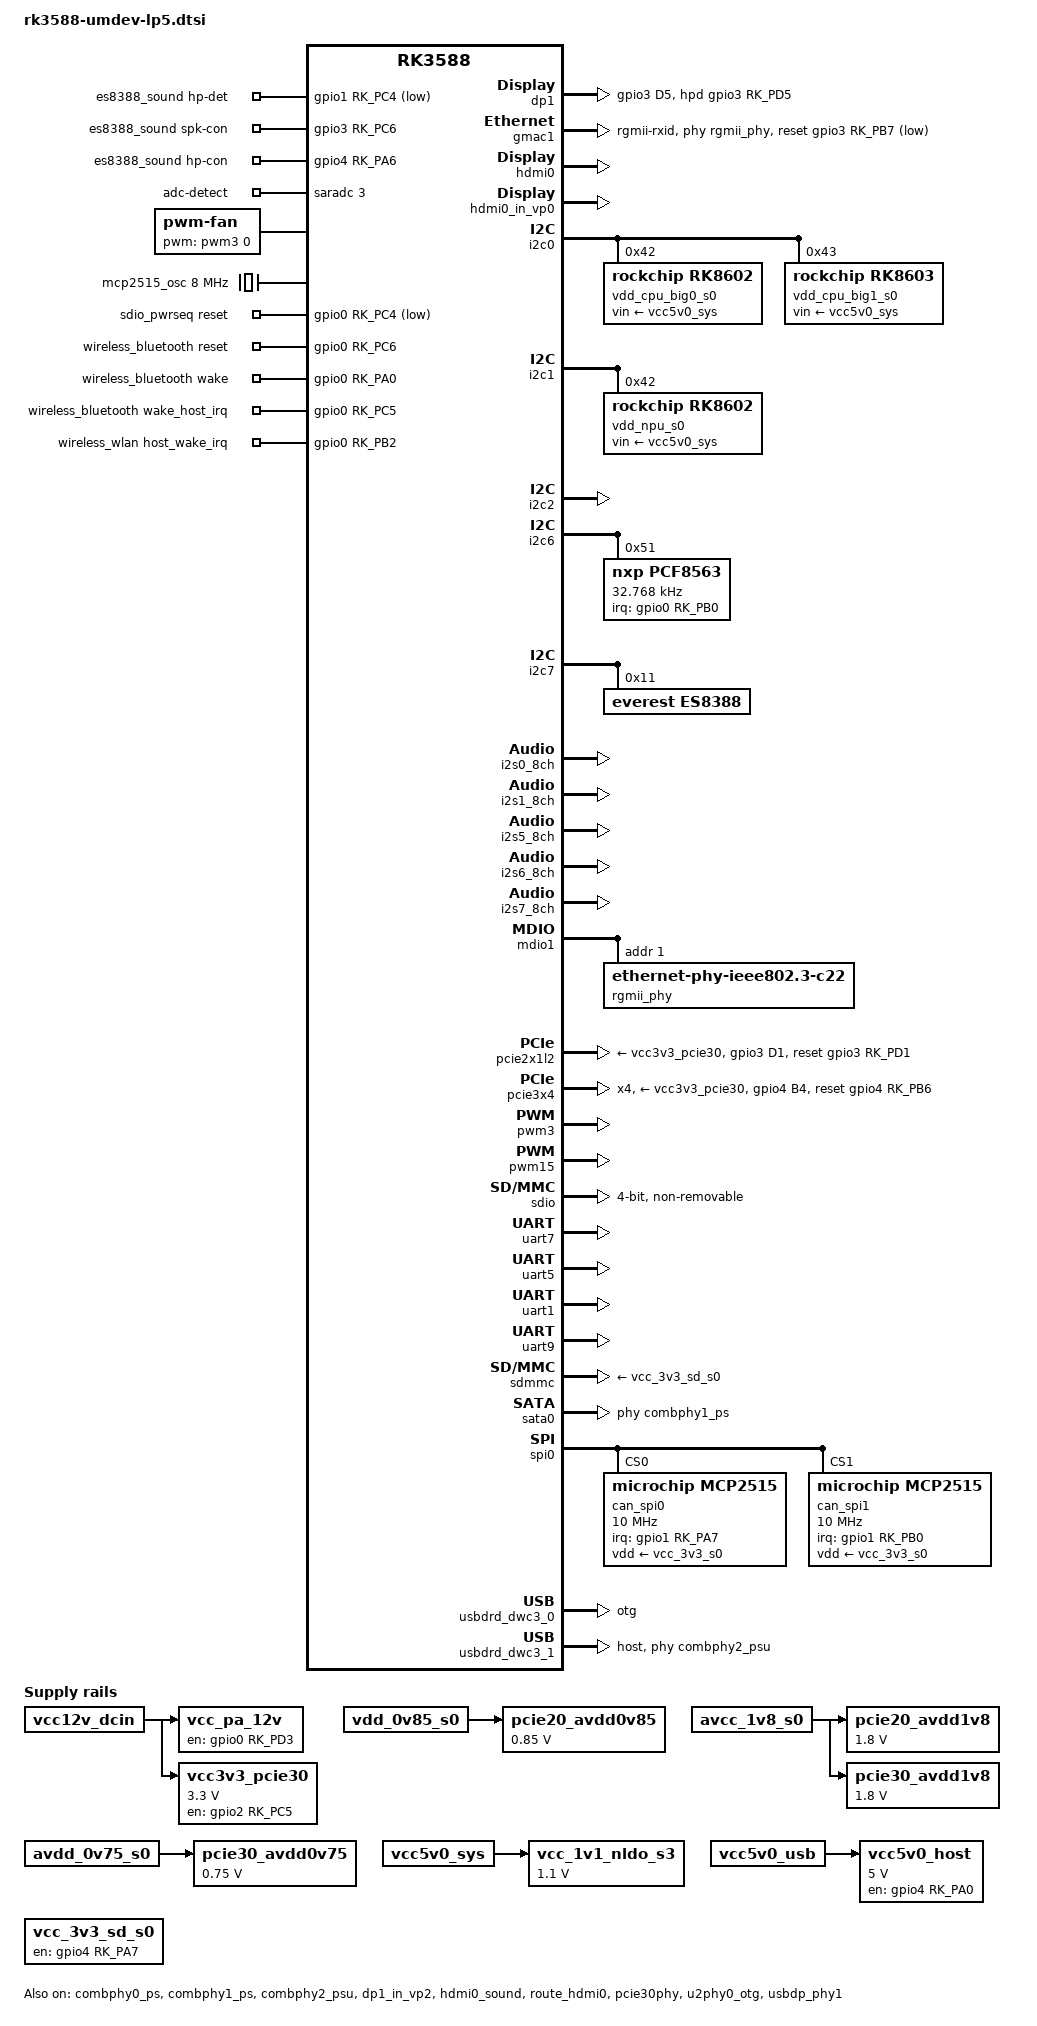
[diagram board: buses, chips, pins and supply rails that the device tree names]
// SPDX-License-Identifier: (GPL-2.0+ OR MIT)
/*
 * Copyright (c) 2021 Rockchip Electronics Co., Ltd.
 * rk3588-umdev-lp5.dtsi 2026.08.05
 */

#include "dt-bindings/usb/pd.h"
#include "dt-bindings/phy/phy.h"
#include "rk3588.dtsi"
#include "rk3588-evb.dtsi"
#include "rk3588-rk806-single.dtsi"

/ {
	es8388_sound: es8388-sound {
		status = "okay";
		compatible = "rockchip,multicodecs-card";
		rockchip,card-name = "rockchip-es8388";
		hp-det-gpio = <&gpio1 RK_PC4 GPIO_ACTIVE_LOW>;
		io-channels = <&saradc 3>;
		io-channel-names = "adc-detect";
		keyup-threshold-microvolt = <1800000>;
		poll-interval = <100>;
		spk-con-gpio = <&gpio3 RK_PC6 GPIO_ACTIVE_HIGH>;
		hp-con-gpio = <&gpio4 RK_PA6 GPIO_ACTIVE_HIGH>;
		rockchip,format = "i2s";
		rockchip,mclk-fs = <256>;
		rockchip,cpu = <&i2s0_8ch>;
		rockchip,codec = <&es8388>;
		rockchip,audio-routing =
			"Headphone", "LOUT1",
			"Headphone", "ROUT1",
			"Speaker", "LOUT2",
			"Speaker", "ROUT2",
			"Headphone", "Headphone Power",
			"Headphone", "Headphone Power",
			"Speaker", "Speaker Power",
			"Speaker", "Speaker Power",
			"LINPUT1", "Headset Mic",
			"RINPUT1", "Headset Mic";
		//	"LINPUT2", "Headset Mic",
		//	"RINPUT2", "Headset Mic";
		pinctrl-names = "default";
		pinctrl-0 = <&hp_det>;
		play-pause-key {
			label = "playpause";
			linux,code = <KEY_PLAYPAUSE>;
			press-threshold-microvolt = <2000>;
		};
	};

	vcc_pa_12v: vcc-pa-12v {
		compatible = "regulator-fixed";
		regulator-name = "vcc_pa_12v";
		regulator-boot-on;
		regulator-always-on;
		enable-active-high;
		gpio = <&gpio0 RK_PD3 GPIO_ACTIVE_HIGH>;
		pinctrl-names = "default";
		pinctrl-0 = <&amp_power_on_h>;
		vin-supply = <&vcc12v_dcin>;
	};

	fan: pwm-fan {
		compatible = "pwm-fan";
		#cooling-cells = <2>;
		pwms = <&pwm3 0 50000 0>;
		cooling-levels = <0 50 100 150 200 255>;
		rockchip,temp-trips = <
			50000	1
			55000	2
			60000	3
			65000	4
			70000	5
		>;
	};

	mcp2515_osc: mcp2515-osc {
		compatible = "fixed-clock";
		#clock-cells = <0>;
		clock-frequency = <8000000>;
	};

	pcie20_avdd0v85: pcie20-avdd0v85 {
		compatible = "regulator-fixed";
		regulator-name = "pcie20_avdd0v85";
		regulator-boot-on;
		regulator-always-on;
		regulator-min-microvolt = <850000>;
		regulator-max-microvolt = <850000>;
		vin-supply = <&vdd_0v85_s0>;
	};

	pcie20_avdd1v8: pcie20-avdd1v8 {
		compatible = "regulator-fixed";
		regulator-name = "pcie20_avdd1v8";
		regulator-boot-on;
		regulator-always-on;
		regulator-min-microvolt = <1800000>;
		regulator-max-microvolt = <1800000>;
		vin-supply = <&avcc_1v8_s0>;
	};

	pcie30_avdd0v75: pcie30-avdd0v75 {
		compatible = "regulator-fixed";
		regulator-name = "pcie30_avdd0v75";
		regulator-boot-on;
		regulator-always-on;
		regulator-min-microvolt = <750000>;
		regulator-max-microvolt = <750000>;
		vin-supply = <&avdd_0v75_s0>;
	};

	pcie30_avdd1v8: pcie30-avdd1v8 {
		compatible = "regulator-fixed";
		regulator-name = "pcie30_avdd1v8";
		regulator-boot-on;
		regulator-always-on;
		regulator-min-microvolt = <1800000>;
		regulator-max-microvolt = <1800000>;
		vin-supply = <&avcc_1v8_s0>;
	};

	/* SDIO接口Wi-Fi专用配置：WIFI_REG_ON: Wi-Fi的电源使能PIN脚 */
	sdio_pwrseq: sdio-pwrseq {
		compatible = "mmc-pwrseq-simple";
		pinctrl-names = "default";
		pinctrl-0 = <&wifi_enable_h>;
		/* 特别注意：WIFI_REG_ON GPIO_ACTIVE 配置跟使能状态恰好是相反的，
		 * 高有效为LOW，低有效则为HIGH
	 	 * 切记：这个配置跟下面的WIFI,poweren_gpio是互斥的，不能同时配置！！！
		 */
		post-power-on-delay-ms = <200>;
		reset-gpios = <&gpio0 RK_PC4 GPIO_ACTIVE_LOW>;	/* WIFI_REG_ON_H */
	};

	vcc_1v1_nldo_s3: vcc-1v1-nldo-s3 {
		compatible = "regulator-fixed";
		regulator-name = "vcc_1v1_nldo_s3";
		regulator-always-on;
		regulator-boot-on;
		regulator-min-microvolt = <1100000>;
		regulator-max-microvolt = <1100000>;
		vin-supply = <&vcc5v0_sys>;
	};

	vcc_3v3_sd_s0: vcc-3v3-sd-s0-regulator {
		compatible = "regulator-fixed";
		gpio = <&gpio4 RK_PA7 GPIO_ACTIVE_HIGH>;
		pinctrl-names = "default";
		pinctrl-0 = <&sd_s0_pwr>;
		regulator-name = "vcc_3v3_sd_s0";
		enable-active-high;
	};

	/* PCIE 3.3V供电 */
	vcc3v3_pcie30: vcc3v3-pcie30 {
		compatible = "regulator-fixed";
		regulator-name = "vcc3v3_pcie30";
		regulator-min-microvolt = <3300000>;
		regulator-max-microvolt = <3300000>;
		enable-active-high;
		pinctrl-names = "default";
		pinctrl-0 = <&pcie30_3v3_pwren_pins>;
		gpios = <&gpio2 RK_PC5 GPIO_ACTIVE_HIGH>;
		startup-delay-us = <5000>;
		vin-supply = <&vcc12v_dcin>;
		regulator-boot-on;
		regulator-always-on;
	};

	vcc5v0_host: vcc5v0-host {
		compatible = "regulator-fixed";
		regulator-name = "vcc5v0_host";
		regulator-boot-on;
		regulator-always-on;
		regulator-min-microvolt = <5000000>;
		regulator-max-microvolt = <5000000>;
		enable-active-high;
		gpio = <&gpio4 RK_PA0 GPIO_ACTIVE_HIGH>;
		vin-supply = <&vcc5v0_usb>;
		pinctrl-names = "default";
		pinctrl-0 = <&vcc5v0_host_en>;
	};

	/* 蓝牙节点 */
	/* 注意下面关于UART的配置：uart4_xfer/uart4_rts/uart4_ctsn
	 * 每个平台的名字可能不一样，要在对应芯片平台的dts/dtsi里面找下对
	 * 应的uart写法，比如uart4_ctsn有些平台的名字为uart4_cts.
	 */
	wireless_bluetooth: wireless-bluetooth {
		compatible = "bluetooth-platdata";

        /* ✅ 必须：32.768kHz 时钟（和 WIFI 共用） */
        clocks = <&pcf8563>;
        clock-names = "ext_clock";
		
		pinctrl-names = "default", "rts_gpio";
		pinctrl-0 = <&uart9m0_rtsn>, <&bt_reset_gpio>, <&bt_wake_gpio>, <&bt_irq_gpio>;
		pinctrl-1 = <&uart9_gpios>;
		BT,reset_gpio    = <&gpio0 RK_PC6 GPIO_ACTIVE_HIGH>;	/* BT_REG_ON_H */
		BT,wake_gpio     = <&gpio0 RK_PA0 GPIO_ACTIVE_HIGH>;	/* BT_WAKE_HOST_H */
		BT,wake_host_irq = <&gpio0 RK_PC5 GPIO_ACTIVE_HIGH>;	/* HOST_WAKE_BT_H */
		status = "okay";
	};

	/* Wi-Fi节点 */
	wireless_wlan: wireless-wlan{
		compatible = "wlan-platdata";
		rockchip,grf = <&sys_grf>;
		/* 注意：如果排查发现Wi-Fi模块没有32.768K波形，且硬件上是有
		 * RK PMU供给的，则打开下面的clock属性，按照实际使用的PMU型号填写，
		 * 否在SDIO/Wi-Fi无法使用.
		 * clocks = <&rk809 1>; //如果使用RK809，  只能配置一个
		 * clocks = <&hym8563>; //如果使用hym8563，只能配置一个
		 * clock-names = "ext_clock";
		*/

		/* 按实际名字填写 */	
		wifi_chip_type = "rtl8822cs";

		/* WIFI_WAKE_HOST: Wi-Fi中断通知主控的PIN脚。
		* 特别注意：确认下这个Wi-Fi pin脚跟主控的pin的
		* 硬件连接关系，直连的话就是GPIO_ACTIVE_HIGH;
		* 如果中间加了一个反向管就要改成低电平GPIO_ACTIVE_LOW触发
		*/
		// pinctrl-names = "default";
		// pinctrl-0 = <&wifi_host_wake_irq>;
		WIFI,host_wake_irq = <&gpio0 RK_PB2 GPIO_ACTIVE_HIGH>;		//GPIO3_A7_u WIFI_WAKE_HOST_H
		
		/* 注意USB/PCIE接口的Wi-Fi需要添加此配置，对应Wi-Fi使能脚,
		 * 且不需要配置sdio_pwrseq/sdio等节点！
		 * SDIO接口WiFi不需要添加这个配置！除非有动态加卸载KO的需求参考11.8章节；
		 * WIFI,poweren_gpio = <&gpio0 RK_PC4 GPIO_ACTIVE_HIGH>;
		*/
		status = "okay";
	};

	/* SPI CAN 时钟源定义 */
	mcp2515_CLK: mcp2515-CLK {
	    compatible = "fixed-clock";
	    #clock-cells = <0>;
	    clock-frequency = <8000000>;
	};
};

/* ==============================================
 * PHY配置（核心修复：释放combphy0_ps给PCIE网卡）
 * ============================================== */
&combphy0_ps {
	status = "okay";  /* 开启，供pcie2x1l2使用 */
};

&combphy1_ps {
	status = "okay";  /* SATA0 */
};

&combphy2_psu {
	status = "okay";  /* USB3.0 */
};

&dp1 {
    pinctrl-names = "default";
    pinctrl-0 = <&dp1_hpd_pin>;
    hpd-gpios = <&gpio3 RK_PD5 GPIO_ACTIVE_HIGH>;
    status = "okay";
};

&dp1_in_vp2 {
    status = "okay";
};

&usbdp_phy0 {
    status = "disabled";
    rockchip,dp-lane-mux = <0 1 2 3>;  /* 4 Lane */
};

/* gmac1: gmac1网口 */
&gmac1 {
	/* Use rgmii-rxid mode to disable rx delay inside Soc */
	phy-mode = "rgmii-rxid";
	clock_in_out = "output";
	snps,reset-gpio = <&gpio3 RK_PB7 GPIO_ACTIVE_LOW>;
	snps,reset-active-low;
	/* Reset time is 20ms, 100ms for rtl8211f */
	snps,reset-delays-us = <0 20000 100000>;
	pinctrl-names = "default";
	pinctrl-0 = <&gmac1_miim
			&gmac1_tx_bus2
			&gmac1_rx_bus2
			&gmac1_rgmii_clk
			&gmac1_rgmii_bus>;
	tx_delay = <0x43>;
	/* rx_delay = <0x3f>; */

	phy-handle = <&rgmii_phy>;
	status = "okay";
};

// 打开 hdmi0 功能
&hdmi0 {
    status = "okay";
    enable-gpios = <&gpio4 RK_PA1 GPIO_ACTIVE_HIGH>;
    pinctrl-names = "default";
    pinctrl-0 = <&hdmim0_tx0_cec &hdmim0_tx0_hpd &hdmim0_tx0_scl &hdmim0_tx0_sda>;
};

// 把 hdmi0 的显示接口连接在 Port0
&hdmi0_in_vp0 {
	status = "okay";
};

// 打开 hdmi0 音频输出
&hdmi0_sound {
	status = "okay";
};

// 打开 hdmi0 的开机 logo
&route_hdmi0 {
	status = "okay";
};

/* I2C0_M2:CPU */
&i2c0 {
	status = "okay";
	pinctrl-names = "default";
	pinctrl-0 = <&i2c0m2_xfer>;

	vdd_cpu_big0_s0: vdd_cpu_big0_mem_s0: rk8602@42 {
		compatible = "rockchip,rk8602";
		reg = <0x42>;
		vin-supply = <&vcc5v0_sys>;
		regulator-compatible = "rk860x-reg";
		regulator-name = "vdd_cpu_big0_s0";
		regulator-min-microvolt = <550000>;
		regulator-max-microvolt = <1050000>;
		regulator-ramp-delay = <2300>;
		rockchip,suspend-voltage-selector = <1>;
		regulator-boot-on;
		regulator-always-on;
		regulator-state-mem {
			regulator-off-in-suspend;
		};
	};

	vdd_cpu_big1_s0: vdd_cpu_big1_mem_s0: rk8603@43 {
		compatible = "rockchip,rk8603";
		reg = <0x43>;
		vin-supply = <&vcc5v0_sys>;
		regulator-compatible = "rk860x-reg";
		regulator-name = "vdd_cpu_big1_s0";
		regulator-min-microvolt = <550000>;
		regulator-max-microvolt = <1050000>;
		regulator-ramp-delay = <2300>;
		rockchip,suspend-voltage-selector = <1>;
		regulator-boot-on;
		regulator-always-on;
		regulator-state-mem {
			regulator-off-in-suspend;
		};
	};
};

&i2c1 {
	status = "okay";
	pinctrl-names = "default";
	pinctrl-0 = <&i2c1m2_xfer>;
	/* NPU_RK860 */
	vdd_npu_s0: vdd_npu_mem_s0: rk8602@42 {
		compatible = "rockchip,rk8602";
		reg = <0x42>;
		vin-supply = <&vcc5v0_sys>;
		regulator-compatible = "rk860x-reg";
		regulator-name = "vdd_npu_s0";
		regulator-min-microvolt = <550000>;
		regulator-max-microvolt = <950000>;
		regulator-ramp-delay = <2300>;
		rockchip,suspend-voltage-selector = <1>;
		regulator-boot-on;
		regulator-always-on;
		regulator-state-mem {
			regulator-off-in-suspend;
		};
	};
};

&i2c2 {
	status = "okay";
	pinctrl-names = "default";
	pinctrl-0 = <&i2c2m0_xfer>;
};

/* I2C6_M0: RTC */
&i2c6 {
	status = "okay";
	pinctrl-names = "default";
	pinctrl-0 = <&i2c6m0_xfer>;
	
	/* RTC_PCF8563 */
	pcf8563: pcf8563@51 {
		compatible = "nxp,pcf8563";
		reg = <0x51>;
		#clock-cells = <0>;
		clock-frequency = <32768>;
		clock-output-names = "pcf8563";
		pinctrl-names = "default";
		pinctrl-0 = <&pcf8563_int>;
		interrupt-parent = <&gpio0>;
		interrupts = <RK_PB0 IRQ_TYPE_LEVEL_LOW>;
		wakeup-source;
	};
};

/* I2C7_M0: ES8388 */
&i2c7 {
	status = "okay";
	es8388: es8388@11 {
		status = "okay";
		#sound-dai-cells = <0>;
		compatible = "everest,es8388", "everest,es8323";
		reg = <0x11>;
		clocks = <&mclkout_i2s0>;
		clock-names = "mclk";
		assigned-clocks = <&mclkout_i2s0>;
		assigned-clock-rates = <12288000>;
		pinctrl-names = "default";
		pinctrl-0 = <&i2s0_mclk>;
	};
};

&i2s0_8ch {
	status = "okay";
};

&i2s1_8ch {
	status = "okay";
	#sound-dai-cells = <0>;
	rockchip,clk-trcm = <2>;
	pinctrl-names = "default";
	pinctrl-0 = <&i2s1m0_lrck
			&i2s1m0_sclk
			&i2s1m0_sdi1
			&i2s1m0_sdi2
			&i2s1m0_sdi3>;
};

&i2s5_8ch {
	status = "okay";
};

&i2s6_8ch {
	status = "okay";
};

&i2s7_8ch {
	status = "okay";
};

&mdio1 {
	rgmii_phy: phy@1 {
		compatible = "ethernet-phy-ieee802.3-c22";
		reg = <0x1>;
	};
};

/* ==============================================
 * PCIE配置（核心修复区）
 * ============================================== */
/* RTL8111网卡对应的PCIE控制器 */
&pcie2x1l2 {
	status = "okay";
	/* 3.3V供电 */
	vpcie3v3-supply = <&vcc3v3_pcie30>;

	/* 复位配置（匹配硬件时序） */
	reset-gpios = <&gpio3 RK_PD1 GPIO_ACTIVE_HIGH>;
	rockchip,perst-inactive-ms = <1000>;
	/* 引脚控制 */
	pinctrl-names = "default";
	pinctrl-0 = <&rtl8111_isolate>;

	/* 强制Gen1模式，解决信号稳定性问题 */
	max-link-speed = <1>;
};

/* PCIE3.0 PHY（供NVMe使用） */
&pcie30phy {
 	rockchip,pcie30-phymode = <PHY_MODE_PCIE_NANBNB>;
	status = "okay";
};

/* NVMe控制器 */
&pcie3x4 {
	status = "okay";
	num-lanes = <4>;	
	pinctrl-names = "default";
	pinctrl-0 = <&pcie30x4_clkreqn_m1>;
	reset-gpios = <&gpio4 RK_PB6 GPIO_ACTIVE_HIGH>; 
	rockchip,perst-inactive-ms = <1000>; 
	vpcie3v3-supply = <&vcc3v3_pcie30>;
};

&pinctrl {
	audio {
		hp_det: hp-det {
			rockchip,pins = <1 RK_PC4 RK_FUNC_GPIO &pcfg_pull_none>;
		};
		phone_ctl: phone-ctl {
			rockchip,pins = <4 RK_PA6 RK_FUNC_GPIO &pcfg_pull_none>;
		};
		spk_ctl: spk-ctl {
			rockchip,pins = <3 RK_PC6 RK_FUNC_GPIO &pcfg_pull_none>;
		};
		amp_power_on_h: amp-power-on-h {
			rockchip,pins = <0 RK_PD3 RK_FUNC_GPIO &pcfg_pull_none>;
		};
	};

	pcf8563 {
		pcf8563_int: pcf8563-int {
			rockchip,pins = <0 RK_PB0 RK_FUNC_GPIO &pcfg_pull_up>;
		};
	};
	
	rtl8111 {
		rtl8111_isolate: rtl8111-isolate {
			rockchip,pins = <3 RK_PD1 RK_FUNC_GPIO &pcfg_pull_up>;
		};
	};
	
	minipcie {
		minipcie_isolate: minipcie-isolate {
			rockchip,pins = <4 RK_PA5 RK_FUNC_GPIO &pcfg_pull_up>;
		};
	};	

	/* SDIO接口Wi-Fi专用配置：WIFI_REG_ON脚的pinctrl的配置 */
	sdio-pwrseq {
		wifi_enable_h: wifi-enable-h {
			/* 对应上面的WIFI_REG_ON，关掉上下拉，防止不能拉高或拉低 */
			rockchip,pins = <0 RK_PC4 RK_FUNC_GPIO &pcfg_pull_up>;
		};
	};

	/* WIFI_WAKE_HOST脚的pinctrl的配置 */
	wireless-bluetooth {
		uart9_gpios: uart9-gpios {
			rockchip,pins = <4 RK_PC4 RK_FUNC_GPIO &pcfg_pull_none>;
		};

		bt_reset_gpio: bt-reset-gpio {
			rockchip,pins = <0 RK_PC6 RK_FUNC_GPIO &pcfg_pull_none>;
		};

		bt_wake_gpio: bt-wake-gpio {
			rockchip,pins = <0 RK_PA0 RK_FUNC_GPIO &pcfg_pull_none>;
		};

		bt_irq_gpio: bt-irq-gpio {
			rockchip,pins = <0 RK_PC5 RK_FUNC_GPIO &pcfg_pull_none>;
		};
	};

	/* WIFI_WAKE_HOST脚的pinctrl的配置 */
	wireless-wlan {
		wifi_host_wake_irq: wifi-host-wake-irq {
			rockchip,pins = <0 RK_PB2 RK_FUNC_GPIO &pcfg_pull_down>;
		};
	};

	pcie30x4 {
		pcie30_3v3_pwren_pins: pcie30-3v3-pwren-pins {
			rockchip,pins = <2 RK_PC5 RK_FUNC_GPIO &pcfg_pull_none>;
		};

		pcie30x4_clkreqn_m1: pcie30x4-clkreqn-m1 {
			rockchip,pins = <4 RK_PB4 RK_FUNC_GPIO &pcfg_pull_down>;
		};
	};

	sdmmc {
		sd_s0_pwr: sd-s0-pwr {
			rockchip,pins = <4 RK_PA7 RK_FUNC_GPIO &pcfg_pull_up>;
		};
	};

	dp1 {
		dp1_hpd_pin: dp1-hpd-pin {
			rockchip,pins = <3 RK_PD5 RK_FUNC_GPIO &pcfg_pull_none>;
		};
	};

	usb {
		vcc5v0_host_en: vcc5v0-host-en {
			rockchip,pins = <4 RK_PA0 RK_FUNC_GPIO &pcfg_pull_none>;
		};
	};
    
    /* 添加CAN中断引脚配置 */
	can_spi {
		can_spi0_int: can-spi0-int {
			rockchip,pins = <1 RK_PA7 RK_FUNC_GPIO &pcfg_pull_up>;
		};

		can_spi1_int: can-spi1-int {
			rockchip,pins = <1 RK_PB0 RK_FUNC_GPIO &pcfg_pull_up>;
		};
	};
};

/* PWM */
&pwm3 {
	pinctrl-names = "default";
	pinctrl-0 = <&pwm3m1_pins>;
	status = "okay";
};

&pwm15 {
	compatible = "rockchip,remotectl-pwm";
	pinctrl-names = "default";
	pinctrl-0 = <&pwm15m1_pins>;
	remote_pwm_id = <15>;
	handle_cpu_id = <1>;
	remote_support_psci = <0>;
	status = "okay";
	
	ir_key1 {
		rockchip,usercode = <0x4040>;
		rockchip,key_table =
			<0xf2	KEY_REPLY>,
			<0xba	KEY_BACK>,
			<0xf4	KEY_UP>,
			<0xf1	KEY_DOWN>,
			<0xef	KEY_LEFT>,
			<0xee	KEY_RIGHT>,
			<0xbd	KEY_HOME>,
			<0xea	KEY_VOLUMEUP>,
			<0xe3	KEY_VOLUMEDOWN>,
			<0xe2	KEY_SEARCH>,
			<0xb2	KEY_POWER>,
			<0xbc	KEY_MUTE>,
			<0xec	KEY_MENU>,
			<0xbf	0x190>,
			<0xe0	0x191>,
			<0xe1	0x192>,
			<0xe9	183>,
			<0xe6	248>,
			<0xe8	185>,
			<0xe7	186>,
			<0xf0	388>,
			<0xbe	0x175>;
	};
};

/* SDIO接口Wi-Fi专用配置：SDIO接口节点 */
&sdio {
	max-frequency = <150000000>;	/* sdio接口的最大频率,可调整 */
	no-sd;
	no-mmc;
	disable-wp;
    #address-cells = <1>;
    #size-cells = <0>;
    bus-width = <4>;	/* 4线模式，可调整1线模式 */
    cap-sd-highspeed;
    cap-sdio-irq;
    keep-power-in-suspend;
    mmc-pwrseq = <&sdio_pwrseq>;
    non-removable;
    pinctrl-names = "default";
    pinctrl-0 = <&sdiom0_pins>;
    status = "okay";
};

&uart7 {
	status = "okay";
	dma-names = "tx", "rx";
	pinctrl-names = "default";
	pinctrl-0 = <&uart7m1_xfer>;
};

&uart5 {
	status = "okay";
	dma-names = "tx", "rx";
	pinctrl-names = "default";
	pinctrl-0 = <&uart5m1_xfer>;
};

&uart1 {
	status = "okay";
	dma-names = "tx", "rx";
	pinctrl-names = "default";
	pinctrl-0 = <&uart1m1_xfer>;
};

&uart0 {
	status = "disabled";
};

/* 打开对应的UART配置 */
&uart9 {
	status = "okay";
	pinctrl-names = "default";
	/* 这里配置对应主控UART的TX/RX/CTS PIN，不要配置RTS PIN */
	pinctrl-0 = <&uart9m0_xfer &uart9m0_ctsn>;
};

&sdmmc {
	status = "okay";
	vmmc-supply = <&vcc_3v3_sd_s0>;
};

/* 3. 启用 SATA 控制器 - 完整配置 */
/*
 * 禁用 PCIe2x1l0，避免引脚冲突
 * SATA0 占用 combphy1_ps，二者不可同时使用
 */
&pcie2x1l0 {
	status = "disabled";
};

&sata0 {
	status = "okay";
	/* 引用配置为SATA模式的PHY */
	phys = <&combphy1_ps PHY_TYPE_SATA>;
	phy-names = "sata-phy";
	/* 配置电源，防止使用虚拟调节器 */
	sata-supply = <&vcc3v3_pcie30>;
	ahci-supply = <&vcc3v3_pcie30>;
	/* 可选：调低初始链接速度以增加稳定性 */
	max-link-speed = <1>; // 1 = Gen1 (1.5 Gbps)
};

&can1 {
    status = "disabled";  /* 如果不用内置CAN0 */
};

&can2 {
    status = "disabled";  /* 如果不用内置CAN1 */
};

/* 配置 SPI 总线 */
&spi0{
    status = "okay";
	pinctrl-names = "default";
	pinctrl-0 = <&spi0m2_pins &spi0m2_cs0 &spi0m2_cs1>;
	num-cs = <2>;

    can_spi0: mcp2515@0 {		/* CAN1 → can0 */
		compatible = "microchip,mcp2515";
		reg = <0>;
		clocks = <&mcp2515_osc>;
		pinctrl-names = "default";
		pinctrl-0 = <&can_spi0_int>;
		spi-max-frequency = <10000000>;
		interrupt-parent = <&gpio1>;
		interrupts = <RK_PA7 IRQ_TYPE_EDGE_FALLING>;
		vdd-supply = <&vcc_3v3_s0>;
		status = "okay";
	};

    can_spi1: mcp2515@1 {		/* CAN2 → can1 */
		compatible = "microchip,mcp2515";
		reg = <1>;
		clocks = <&mcp2515_osc>;
		pinctrl-names = "default";
		pinctrl-0 = <&can_spi1_int>;
		spi-max-frequency = <10000000>;
		interrupt-parent = <&gpio1>;
		interrupts = <RK_PB0 IRQ_TYPE_EDGE_FALLING>;
		vdd-supply = <&vcc_3v3_s0>;
		status = "okay";
	};
};

&u2phy0_otg {
	status = "okay";
};

&u2phy1_otg {
	phy-supply = <&vcc5v0_host>;
};

&u2phy2_host {
	phy-supply = <&vcc5v0_host>;
};

&u2phy3_host {
	phy-supply = <&vcc5v0_host>;
};

&usbdp_phy1 {
	rockchip,dp-lane-mux = <0 1 2 3>;
	status = "okay";
};

&usbdrd_dwc3_0 {
	dr_mode = "otg";
	extcon = <&u2phy0>;
	status = "okay";
};

&usbdrd_dwc3_1 {
	dr_mode = "host";
	maximum-speed = "super-speed";
	phys = <&combphy2_psu PHY_TYPE_USB3>; // ✅ 关键：显式绑定 PHY
	phy-names = "usb3-phy";
	status = "okay";
};
